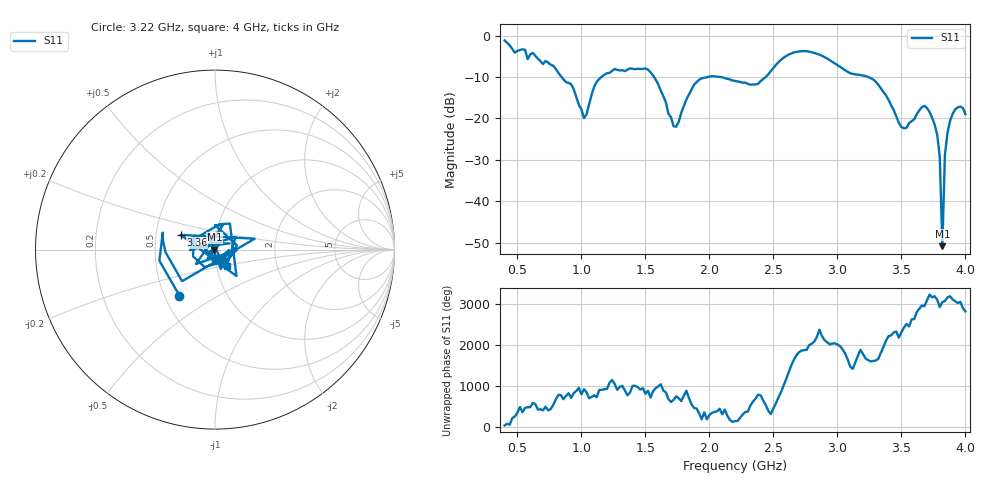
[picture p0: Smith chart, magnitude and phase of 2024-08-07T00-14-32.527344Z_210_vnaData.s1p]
!Created with skrf (http://scikit-rf.org).
# Hz S RI R 50.0
!freq ReS11 ImS11
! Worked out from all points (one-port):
!   181 points, 400 MHz to 4 GHz, reference 50 ohm
!   lowest |S11| = -50.8 dB at 3.82 GHz (marker M1), VSWR 1.01, Z = 49.7 + j0.0352 ohm
!   |S11| at or under -10 dB: 1.567 GHz to 1.99 GHz (423 MHz wide, 23.8 % of centre); 2.084 GHz to 2.44 GHz (356.1 MHz wide, 15.7 % of centre); 3.239 GHz to end of sweep (the widest 3 of 4)
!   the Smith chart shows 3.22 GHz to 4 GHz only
!   S11 on the Smith chart (normalised r, x): 3.22 GHz: 0.60, -0.34; 3.36 GHz: 0.67, +0.11; 4 GHz: 1.12, -0.21
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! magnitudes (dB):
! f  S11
! 400 MHz  -1.2
! 860 MHz  -10.6
! 920 MHz  -11.8
! 1.02 GHz  -19.9
! 1.12 GHz  -11.1
! 1.3 GHz  -8.4
! 1.52 GHz  -8.2
! 1.6 GHz  -11.8
! 1.72 GHz  -21.9
! 1.76 GHz  -20.9
! 1.92 GHz  -10.7
! 2.2 GHz  -11.0
! 2.38 GHz  -11.7
! 2.66 GHz  -4.1
! 2.86 GHz  -4.6
! 3.1 GHz  -9.1
! 3.22 GHz  -9.8
! 3.36 GHz  -13.6
! 3.5 GHz  -22.1
! 3.56 GHz  -21.1
! 3.68 GHz  -17.0
! 3.76 GHz  -21.5
! 3.8 GHz  -29.4
! 3.82 GHz  -50.8
! 3.84 GHz  -28.8
! 3.86 GHz  -23.5
! 3.92 GHz  -17.9
! 4 GHz  -19.0
